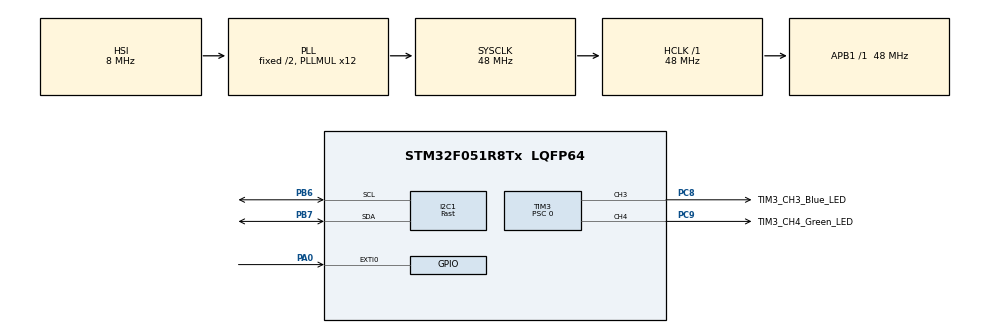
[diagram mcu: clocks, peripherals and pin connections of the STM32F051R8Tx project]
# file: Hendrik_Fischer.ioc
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I2C1.I2C_Speed_Mode=I2C_Fast
I2C1.Timing=0x0000020B
Mcu.Family=STM32F0
Mcu.Name=STM32F051R8Tx
Mcu.Package=LQFP64
NVIC.EXTI0_1_IRQn=true\:0\:0\:false\:false\:true\:true\:true\:true
NVIC.TIM16_IRQn=true\:0\:0\:false\:false\:true\:true\:true\:true
PA0.GPIO_ModeDefaultEXTI=GPIO_MODE_IT_RISING
PA0.Signal=GPXTI0
PA13.GPIO_Label=SWDIO
PA13.Mode=Serial_Wire
PA13.Signal=SYS_SWDIO
PA14.GPIO_Label=SWCLK
PA14.Mode=Serial_Wire
PA14.Signal=SYS_SWCLK
PB6.Mode=I2C
PB6.Signal=I2C1_SCL
PB7.Mode=I2C
PB7.Signal=I2C1_SDA
PC8.GPIO_Label=TIM3_CH3_Blue_LED
PC8.Signal=S_TIM3_CH3
PC9.GPIO_Label=TIM3_CH4_Green_LED
PC9.Signal=S_TIM3_CH4
ProjectManager.HeapSize=0x200
ProjectManager.StackSize=0x400
ProjectManager.TargetToolchain=STM32CubeIDE
RCC.AHBFreq_Value=48000000
RCC.APB1Freq_Value=48000000
RCC.APB1TimFreq_Value=48000000
RCC.HCLKFreq_Value=48000000
RCC.PLLMUL=RCC_PLL_MUL12
RCC.SYSCLKFreq_VALUE=48000000
RCC.SYSCLKSource=RCC_SYSCLKSOURCE_PLLCLK
SH.S_TIM3_CH3.0=TIM3_CH3,PWM Generation3 CH3
SH.S_TIM3_CH4.0=TIM3_CH4,PWM Generation4 CH4
TIM16.AutoReloadPreload=TIM_AUTORELOAD_PRELOAD_ENABLE
TIM16.Period=250-1
TIM16.Prescaler=48000-1
TIM3.AutoReloadPreload=TIM_AUTORELOAD_PRELOAD_ENABLE
TIM3.Channel-PWM\ Generation3\ CH3=TIM_CHANNEL_3
TIM3.Channel-PWM\ Generation4\ CH4=TIM_CHANNEL_4
TIM3.Period=512-1
TIM3.Prescaler=0
TIM3.Pulse-PWM\ Generation3\ CH3=1
TIM3.Pulse-PWM\ Generation4\ CH4=1
VP_TIM16_VS_ClockSourceINT.Mode=Enable_Timer
VP_TIM3_VS_ClockSourceINT.Mode=Internal
board=STM32F0DISCOVERY

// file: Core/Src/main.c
/* USER CODE BEGIN Header */
/**
  ******************************************************************************
  * @file           : main.c
  * @brief          : Main program body
  ******************************************************************************
  * @attention
  *
  * Copyright (c) 2022 STMicroelectronics.
  * All rights reserved.
  *
  * This software is licensed under terms that can be found in the LICENSE file
  * in the root directory of this software component.
  * If no LICENSE file comes with this software, it is provided AS-IS.
  *
  ******************************************************************************
  */
/* USER CODE END Header */
#include "main.h"

/* USER CODE BEGIN Includes */
#include <stdio.h>
#include <string.h>
#include <gyro.h>
#include <FXOS8700CQ.h>
#include <stdbool.h>
#include <math.h>
#include <stdlib.h>

/* USER CODE END Includes */

 I2C_HandleTypeDef hi2c1;

TIM_HandleTypeDef htim3;
TIM_HandleTypeDef htim16;

/* USER CODE BEGIN PV */

//Initialisierung der Variablen, die vom Interrupt gesetzt werden

//volatile, damit sie vom Compiler nicht wegoptimiert werden
volatile bool Tara = false; //für den Tara-Interrupt
volatile bool LEDistAN = true;//Für den TIM16 Interrupt, der die LEDs blinken lässt wenn Auslenkung < 5°

/* USER CODE END PV */

void SystemClock_Config(void);
static void MX_GPIO_Init(void);
static void MX_I2C1_Init(void);
static void MX_TIM3_Init(void);
static void MX_TIM16_Init(void);

int main(void)
{
  /* USER CODE BEGIN 1 */

	//Initialisierung der Sensor-Daten-Variablen für Gyroskop, Beschleunigungssensor und Magnetometer

	//Gyro
	int16_t x_axis, y_axis, z_axis;
	double x_axis_dps,  y_axis_dps,  z_axis_dps;

	//Accelerometer
	int16_t x_axis_Acc, y_axis_Acc, z_axis_Acc;

	//Magnetometer
	int16_t x_axis_Mag, y_axis_Mag, z_axis_Mag;

	//Initialisiere TARA-Ausrichtung und setze sie auf Null

	double TaraHeading = 0;

	//Diese Variable misst die Abweichung vom Nullpunkt in Tausendstel Grad
	int16_t Abweichung_milliGrad;

  /* USER CODE END 1 */

  /* MCU Configuration--------------------------------------------------------*/

  /* Reset of all peripherals, Initializes the Flash interface and the Systick. */
  HAL_Init();

  /* Configure the system clock */
  SystemClock_Config();

  /* Initialize all configured peripherals */
  MX_GPIO_Init();
  MX_I2C1_Init();
  MX_TIM3_Init();
  MX_TIM16_Init();
  /* USER CODE BEGIN 2 */

//starte Timer
  //PWM-Timer
  HAL_TIM_PWM_Start(&htim3, TIM_CHANNEL_3);
  HAL_TIM_PWM_Start(&htim3, TIM_CHANNEL_4);

//LEDS aus
  __HAL_TIM_SET_COMPARE(&htim3,TIM_CHANNEL_3,0);
  __HAL_TIM_SET_COMPARE(&htim3,TIM_CHANNEL_4,0);

//Initialisiere die Sensoren

  bool Gyro_Init_Check;
  bool FXOS8700CQ_Init_Check;

  Gyro_Init_Check = InitialisiereGyro();

  FXOS8700CQ_Init_Check = InitialisiereFXOS8700CQ();

  if (Gyro_Init_Check == true){
	  //I2C-Kommunikation funktioniert
	  //blinke grüne LED 3x
	  uint8_t x;
	  for (x = 0; x < 3; ++x){

		  __HAL_TIM_SET_COMPARE(&htim3,TIM_CHANNEL_4,511);
		  HAL_Delay(100);
		  __HAL_TIM_SET_COMPARE(&htim3,TIM_CHANNEL_4,0);
		  HAL_Delay(100);

		    }

  }

  if (FXOS8700CQ_Init_Check == true){
	  //I2C-Kommunikation funktioniert
	  //blinke blaue LED 3x
	  uint8_t x;
	  for (x = 0; x < 3; ++x){

		  __HAL_TIM_SET_COMPARE(&htim3,TIM_CHANNEL_3,511);
		  HAL_Delay(100);
		  __HAL_TIM_SET_COMPARE(&htim3,TIM_CHANNEL_3,0);
		  HAL_Delay(100);
		    }

  }

  //Funktion, umd die Ausrichtung des Sensors zu bestimmen

  double BerechneAusrichtung(int16_t *x_axis_Mag, int16_t *y_axis_Mag, double *TaraHeading){

	  //Skalarprodukt von Taravektor [x_Tara_Mag y_Tara_Mag z_Tara_Mag]^T und Nordvektor [x_axis_Mag y_axis_Mag z_axis_Mag]^T

	  //int32_t skalarprod = (*x_Tara_Mag) * (*x_axis_Mag) + (*y_Tara_Mag) * (*y_axis_Mag) + (*z_Tara_Mag) * (*z_axis_Mag);
	  //double BetragTaraVec = sqrt((*x_Tara_Mag) * (*x_Tara_Mag) + (*y_Tara_Mag) * (*y_Tara_Mag) + (*z_Tara_Mag) * (*z_Tara_Mag));
	  //double BetragMagVec = sqrt((*x_axis_Mag) * (*x_axis_Mag) + (*y_axis_Mag) * (*y_axis_Mag) + (*z_axis_Mag) * (*z_axis_Mag));
	   //Winkel zwischen TaraVec und MagVec
	  //Abweichung = acos(skalarprod/(BetragTaraVec*BetragMagVec))*(180/M_PI);
	  double Azimut = 90 - atan2((double)*y_axis_Mag, (double)*x_axis_Mag) * 180 / M_PI;
	  //Berechne Abweichung von per blauem Knopf gewählten Nullpunt.
	  //TaraHeading ist mit 0 initialisiert, d.h. vor dem ersten Drücken des blauen Knopfes ist Abweichung = Azimut
	  double Abweichung = Azimut - *TaraHeading;
	  //konvertiert in int für abs-Funktion
	  int16_t Abweichung_milliGrad = (int16_t)(Abweichung * 1000);
	  return Abweichung_milliGrad;
  }

  /* USER CODE END 2 */

  /* Infinite loop */
  /* USER CODE BEGIN WHILE */

  while(1){
	  //Lese Sensorwerte aus
	  gyroWerteAuslesen(&x_axis, &y_axis, &z_axis);
	  	  //rechne Gyro-Rohdaten in Grad pro Sekunde um
	  x_axis_dps = (double)(x_axis*15.625/1000);
	  y_axis_dps = (double)(y_axis*15.625/1000);
	  z_axis_dps = (double)(z_axis*15.625/1000);

 	  FXOS8700CQWerteAuslesen(&x_axis_Mag, &y_axis_Mag, &z_axis_Mag, &x_axis_Acc, &y_axis_Acc, &z_axis_Acc);

	  //Prüfe, ob blauer Knopf gedrückt wurde
	  if (Tara == true){
		  //speichere aktuelle Abweichung von Norden
		  TaraHeading = 90 - atan2 ((double)y_axis_Mag, (double)x_axis_Mag) * 180 / M_PI;
		  Tara = false;
	  }
	  Abweichung_milliGrad = BerechneAusrichtung(&x_axis_Mag, &y_axis_Mag, &TaraHeading);

//Hier der Code, wenn die LEDs blinken sollen weil die Abweichung kleiner als 5° ist.

	  if (abs(Abweichung_milliGrad) <= 5000){

		  HAL_TIM_Base_Start_IT(&htim16);//starte den Timer, der für das Blinken der LEDs da ist, in Interrupt-Modus

		  if (z_axis_dps >= -0.2){
			  // z-Achse wird GEGEN Uhrzeigersinn gedreht -> grüne LED muss blinken, blaue LED aus
			  // kleiner Buffer eingebaut, damit beim Stillhalten des Sensors nur eine LED blinkt
			  // und das Rauschen des Sensors kein erratisch wechselndes Blinken von blauer
			  // und grüner LED erzeugt
			  __HAL_TIM_SET_COMPARE(&htim3,TIM_CHANNEL_3,0); //blau aus
			  if (LEDistAN == true){
				  __HAL_TIM_SET_COMPARE(&htim3,TIM_CHANNEL_4,511); //grün an
			  }else{
				  __HAL_TIM_SET_COMPARE(&htim3,TIM_CHANNEL_4,0); //grün aus
			  }
		  }else{
			  	  // z-Achse wird IM Uhrzeigersinn gedreht -> blaue LED muss blinken, grüne LED aus
				  __HAL_TIM_SET_COMPARE(&htim3,TIM_CHANNEL_4,0); //grün aus
				  if (LEDistAN == true){
					  __HAL_TIM_SET_COMPARE(&htim3,TIM_CHANNEL_3,511); //blau an
				  }else{
					  __HAL_TIM_SET_COMPARE(&htim3,TIM_CHANNEL_3,0); //blau aus
				  }
			}
		  }else{
			  HAL_TIM_Base_Stop_IT(&htim16);
			  //stoppe den Blink-Timer
		  }

//Hier der Code, wenn die LEDs dauerleuchten sollen, da die Abweichung >5° ist.

	  if (z_axis_dps >= 0 && abs(Abweichung_milliGrad) > 5000){
	  		  // z-Achse wird GEGEN Uhrzeigersinn gedreht
	  		  int16_t z_axis_Max = 500; //maximaler Wert der Drehrate
	  		  int16_t z = (z_axis_dps*511)/z_axis_Max; //511 ist in der Konfiguration von Tim3 die Zahl, bis zu der gezählt wird.

	  		  //setzt Pulsweite für grüne LEDauf berechneten %-Wert
	  		  __HAL_TIM_SET_COMPARE(&htim3,TIM_CHANNEL_4,z);
	  		  //setzt Pulsweite für blaue LED auf 0
	  		  __HAL_TIM_SET_COMPARE(&htim3,TIM_CHANNEL_3,0);

	  	  }else if (z_axis_dps <= 0 && abs(Abweichung_milliGrad) > 5000){
	  		  // z-Achse wird IM Uhrzeigersinn gedreht
	  		  int16_t z_axis_Min = -500;	//minimaler Wert der Drehrate
	  		  int16_t z = (z_axis_dps*511)/z_axis_Min;
	  		  //setzt Pulsweite für blaue LEDauf berechneten %-Wert
	  		  __HAL_TIM_SET_COMPARE(&htim3,TIM_CHANNEL_3,z);
	  		  //setzt Pulsweite für grüne LED auf 0
	  		  __HAL_TIM_SET_COMPARE(&htim3,TIM_CHANNEL_4,0);
	  	  }
    /* USER CODE END WHILE */

    /* USER CODE BEGIN 3 */

  }//Ende while-Schleife
  /* USER CODE END 3 */
}

void SystemClock_Config(void)
{
  RCC_OscInitTypeDef RCC_OscInitStruct = {0};
  RCC_ClkInitTypeDef RCC_ClkInitStruct = {0};
  RCC_PeriphCLKInitTypeDef PeriphClkInit = {0};

  /** Initializes the RCC Oscillators according to the specified parameters
  * in the RCC_OscInitTypeDef structure.
  */
  RCC_OscInitStruct.OscillatorType = RCC_OSCILLATORTYPE_HSI;
  RCC_OscInitStruct.HSIState = RCC_HSI_ON;
  RCC_OscInitStruct.HSICalibrationValue = RCC_HSICALIBRATION_DEFAULT;
  RCC_OscInitStruct.PLL.PLLState = RCC_PLL_ON;
  RCC_OscInitStruct.PLL.PLLSource = RCC_PLLSOURCE_HSI;
  RCC_OscInitStruct.PLL.PLLMUL = RCC_PLL_MUL12;
  RCC_OscInitStruct.PLL.PREDIV = RCC_PREDIV_DIV1;
  if (HAL_RCC_OscConfig(&RCC_OscInitStruct) != HAL_OK)
  {
    Error_Handler();
  }

  /** Initializes the CPU, AHB and APB buses clocks
  */
  RCC_ClkInitStruct.ClockType = RCC_CLOCKTYPE_HCLK|RCC_CLOCKTYPE_SYSCLK
                              |RCC_CLOCKTYPE_PCLK1;
  RCC_ClkInitStruct.SYSCLKSource = RCC_SYSCLKSOURCE_PLLCLK;
  RCC_ClkInitStruct.AHBCLKDivider = RCC_SYSCLK_DIV1;
  RCC_ClkInitStruct.APB1CLKDivider = RCC_HCLK_DIV1;

  if (HAL_RCC_ClockConfig(&RCC_ClkInitStruct, FLASH_LATENCY_1) != HAL_OK)
  {
    Error_Handler();
  }
  PeriphClkInit.PeriphClockSelection = RCC_PERIPHCLK_I2C1;
  PeriphClkInit.I2c1ClockSelection = RCC_I2C1CLKSOURCE_HSI;
  if (HAL_RCCEx_PeriphCLKConfig(&PeriphClkInit) != HAL_OK)
  {
    Error_Handler();
  }
}

static void MX_I2C1_Init(void)
{

  hi2c1.Instance = I2C1;
  hi2c1.Init.Timing = 0x0000020B;
  hi2c1.Init.OwnAddress1 = 0;
  hi2c1.Init.AddressingMode = I2C_ADDRESSINGMODE_7BIT;
  hi2c1.Init.DualAddressMode = I2C_DUALADDRESS_DISABLE;
  hi2c1.Init.OwnAddress2 = 0;
  hi2c1.Init.OwnAddress2Masks = I2C_OA2_NOMASK;
  hi2c1.Init.GeneralCallMode = I2C_GENERALCALL_DISABLE;
  hi2c1.Init.NoStretchMode = I2C_NOSTRETCH_DISABLE;
  if (HAL_I2C_Init(&hi2c1) != HAL_OK)
  {
    Error_Handler();
  }

  /** Configure Analogue filter
  */
  if (HAL_I2CEx_ConfigAnalogFilter(&hi2c1, I2C_ANALOGFILTER_ENABLE) != HAL_OK)
  {
    Error_Handler();
  }

  /** Configure Digital filter
  */
  if (HAL_I2CEx_ConfigDigitalFilter(&hi2c1, 0) != HAL_OK)
  {
    Error_Handler();
  }
  /* USER CODE BEGIN I2C1_Init 2 */

  /*HAL_I2C_Slave_Transmit(hi2c, pData, Size, Timeout) */
  /*LL_I2C_SetSlaveAddr*/

  /* USER CODE END I2C1_Init 2 */

}

static void MX_TIM3_Init(void)
{

  TIM_ClockConfigTypeDef sClockSourceConfig = {0};
  TIM_MasterConfigTypeDef sMasterConfig = {0};
  TIM_OC_InitTypeDef sConfigOC = {0};

  htim3.Instance = TIM3;
  htim3.Init.Prescaler = 0;
  htim3.Init.CounterMode = TIM_COUNTERMODE_UP;
  htim3.Init.Period = 512-1;
  htim3.Init.ClockDivision = TIM_CLOCKDIVISION_DIV1;
  htim3.Init.AutoReloadPreload = TIM_AUTORELOAD_PRELOAD_ENABLE;
  if (HAL_TIM_Base_Init(&htim3) != HAL_OK)
  {
    Error_Handler();
  }
  sClockSourceConfig.ClockSource = TIM_CLOCKSOURCE_INTERNAL;
  if (HAL_TIM_ConfigClockSource(&htim3, &sClockSourceConfig) != HAL_OK)
  {
    Error_Handler();
  }
  if (HAL_TIM_PWM_Init(&htim3) != HAL_OK)
  {
    Error_Handler();
  }
  sMasterConfig.MasterOutputTrigger = TIM_TRGO_RESET;
  sMasterConfig.MasterSlaveMode = TIM_MASTERSLAVEMODE_DISABLE;
  if (HAL_TIMEx_MasterConfigSynchronization(&htim3, &sMasterConfig) != HAL_OK)
  {
    Error_Handler();
  }
  sConfigOC.OCMode = TIM_OCMODE_PWM1;
  sConfigOC.Pulse = 1;
  sConfigOC.OCPolarity = TIM_OCPOLARITY_HIGH;
  sConfigOC.OCFastMode = TIM_OCFAST_DISABLE;
  if (HAL_TIM_PWM_ConfigChannel(&htim3, &sConfigOC, TIM_CHANNEL_3) != HAL_OK)
  {
    Error_Handler();
  }
  if (HAL_TIM_PWM_ConfigChannel(&htim3, &sConfigOC, TIM_CHANNEL_4) != HAL_OK)
  {
    Error_Handler();
  }
  HAL_TIM_MspPostInit(&htim3);

}

static void MX_TIM16_Init(void)
{

  htim16.Instance = TIM16;
  htim16.Init.Prescaler = 48000-1;
  htim16.Init.CounterMode = TIM_COUNTERMODE_UP;
  htim16.Init.Period = 250-1;
  htim16.Init.ClockDivision = TIM_CLOCKDIVISION_DIV1;
  htim16.Init.RepetitionCounter = 0;
  htim16.Init.AutoReloadPreload = TIM_AUTORELOAD_PRELOAD_ENABLE;
  if (HAL_TIM_Base_Init(&htim16) != HAL_OK)
  {
    Error_Handler();
  }

}

static void MX_GPIO_Init(void)
{
  GPIO_InitTypeDef GPIO_InitStruct = {0};

  /* GPIO Ports Clock Enable */
  __HAL_RCC_GPIOA_CLK_ENABLE();
  __HAL_RCC_GPIOC_CLK_ENABLE();
  __HAL_RCC_GPIOB_CLK_ENABLE();

  /*Configure GPIO pin : PA0 */
  GPIO_InitStruct.Pin = GPIO_PIN_0;
  GPIO_InitStruct.Mode = GPIO_MODE_IT_RISING;
  GPIO_InitStruct.Pull = GPIO_NOPULL;
  HAL_GPIO_Init(GPIOA, &GPIO_InitStruct);

  /* EXTI interrupt init*/
  HAL_NVIC_SetPriority(EXTI0_1_IRQn, 0, 0);
  HAL_NVIC_EnableIRQ(EXTI0_1_IRQn);

}

/* USER CODE BEGIN 4 */
// Interrupt Funktionen
void HAL_GPIO_EXTI_Callback(uint16_t GPIO_Pin)
{
     if(GPIO_Pin == GPIO_PIN_0) // If The INT Source Is EXTI Line9 (A9 Pin)
    {
    	//kurzer Interrupt setzt Tara Wert auf true, damit dann in der while Schleife die aktuelle Ausrichtung gespeichert werden kann
    	Tara = true;
    }
}
void HAL_TIM_PeriodElapsedCallback(TIM_HandleTypeDef *htim){
	if (htim == &htim16){ //Prüfe, ob es tatsächlich Timer 16 war, der den Interrupt ausgelöst hat

		//jetzt wird der LEDistAN Wert umgeschaltet; entweder von Wahr auf Falsch oder von Falsch auf Wahr.
		//Bei jedem Durchlauf des Counters wird somit ein Interrupt ausgelöst. In der Hauptschleife kann somit entweder Die LED an- oder ausgeschaltet werden,
		//je nachdem welchen Wert LEDistAN annimmt.
		if (LEDistAN == true){

			LEDistAN = false;
		}else{
			LEDistAN = true;
		}
		 //
	}
}
/* USER CODE END 4 */

void Error_Handler(void)
{
  __disable_irq();
  while (1)
  {
  }
}
